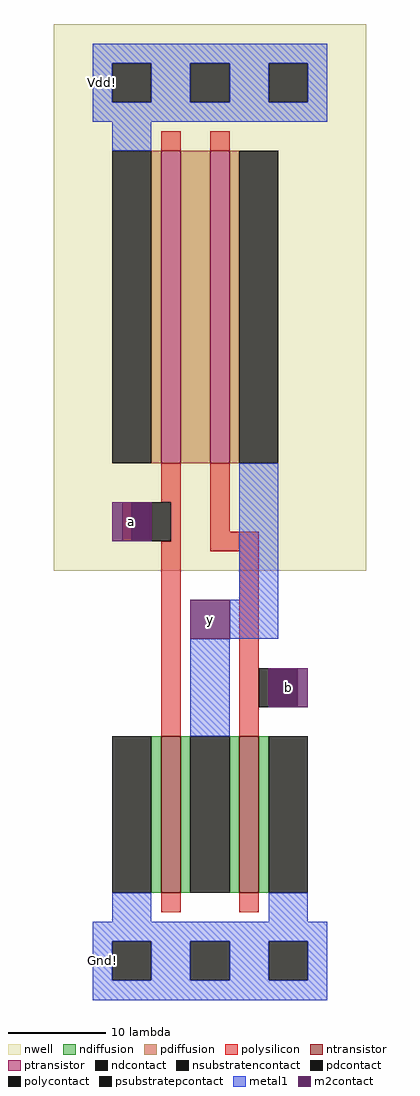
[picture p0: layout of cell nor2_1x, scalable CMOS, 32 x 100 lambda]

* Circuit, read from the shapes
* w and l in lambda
.subckt nor2_1x Gnd! Vdd! a b y
M1 y a Gnd! Gnd! nfet w=16 l=2
M2 Gnd! b y Gnd! nfet w=16 l=2
M3 n1 a Vdd! Vdd! pfet w=32 l=2
M4 y b n1 Vdd! pfet w=32 l=2
.ends

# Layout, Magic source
magic
tech scmos
<< nwell >>
rect -6 40 26 96
<< ntransistor >>
rect 5 7 7 23
rect 13 7 15 23
<< ptransistor >>
rect 5 51 7 83
rect 10 51 12 83
<< ndiffusion >>
rect 4 7 5 23
rect 7 7 8 23
rect 12 7 13 23
rect 15 7 16 23
<< pdiffusion >>
rect 4 51 5 83
rect 7 51 10 83
rect 12 51 13 83
<< ndcontact >>
rect 0 7 4 23
rect 8 7 12 23
rect 16 7 20 23
<< pdcontact >>
rect 0 51 4 83
rect 13 51 17 83
<< psubstratepcontact >>
rect 0 -2 4 2
rect 8 -2 12 2
rect 16 -2 20 2
<< nsubstratencontact >>
rect 0 88 4 92
rect 8 88 12 92
rect 16 88 20 92
<< polysilicon >>
rect 5 83 7 85
rect 10 83 12 85
rect 5 47 7 51
rect 1 43 2 47
rect 6 43 7 47
rect 5 23 7 43
rect 10 44 12 51
rect 10 42 15 44
rect 13 23 15 42
rect 5 5 7 7
rect 13 5 15 7
<< polycontact >>
rect 2 43 6 47
rect 15 26 19 30
<< metal1 >>
rect -2 92 22 94
rect -2 88 0 92
rect 4 88 8 92
rect 12 88 16 92
rect 20 88 22 92
rect -2 86 22 88
rect 0 83 4 86
rect 13 37 17 51
rect 12 33 17 37
rect 8 23 12 33
rect 0 4 4 7
rect 16 4 20 7
rect -2 2 22 4
rect -2 -2 0 2
rect 4 -2 8 2
rect 12 -2 16 2
rect 20 -2 22 2
rect -2 -4 22 -2
<< m2contact >>
rect 0 43 2 47
rect 2 43 4 47
rect 8 33 12 37
rect 16 26 19 30
rect 19 26 20 30
<< labels >>
rlabel m2contact 2 45 2 45 1 a
rlabel m2contact 10 35 10 35 1 y
rlabel m2contact 18 28 18 28 1 b
rlabel metal1 -1 90 -1 90 3 Vdd!
rlabel metal1 -1 0 -1 0 3 Gnd!
<< end >>
